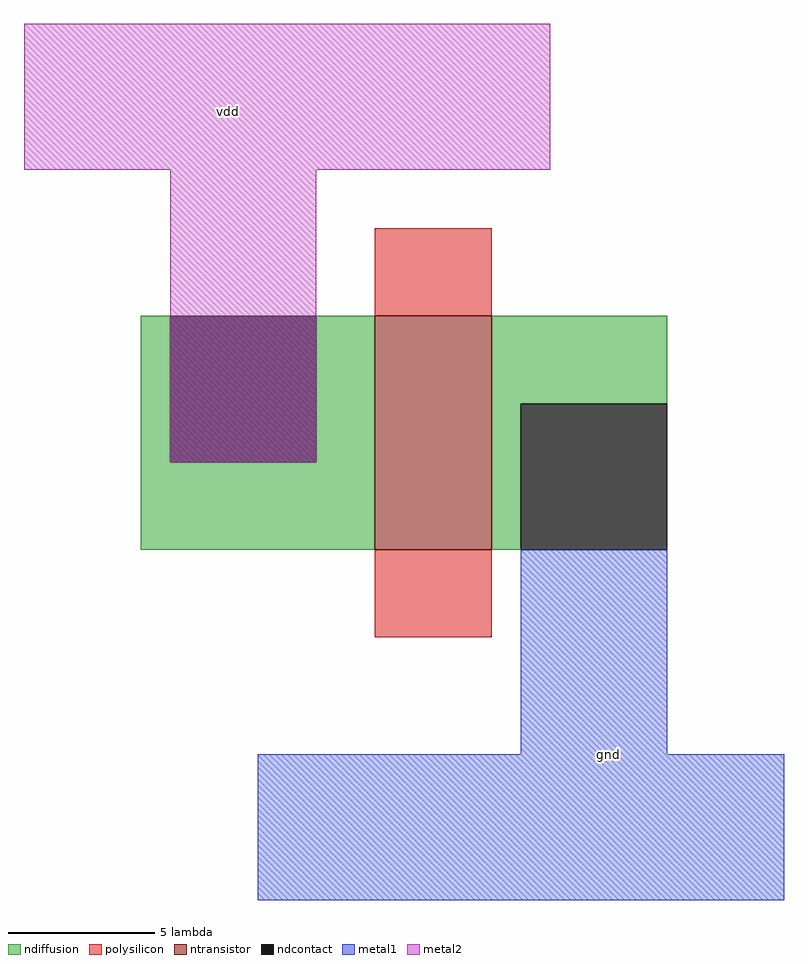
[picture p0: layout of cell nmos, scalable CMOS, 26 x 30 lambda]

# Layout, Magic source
magic
tech scmos
<< polysilicon >>
rect 0 3 4 6
rect 0 -8 4 -5
<< ndiffusion >>
rect -8 -2 -7 3
rect -2 -2 0 3
rect -8 -5 0 -2
rect 4 0 10 3
rect 4 -5 5 0
<< metal1 >>
rect 5 -12 10 -5
rect -4 -17 14 -12
<< metal2 >>
rect -12 8 6 13
rect -7 -2 -2 8
<< ntransistor >>
rect 0 -5 4 3
<< ndcontact >>
rect -7 -2 -2 3
rect 5 -5 10 0
<< labels >>
rlabel metal1 8 -12 8 -12 1 gnd
rlabel metal2 -5 10 -5 10 5 vdd
<< end >>
